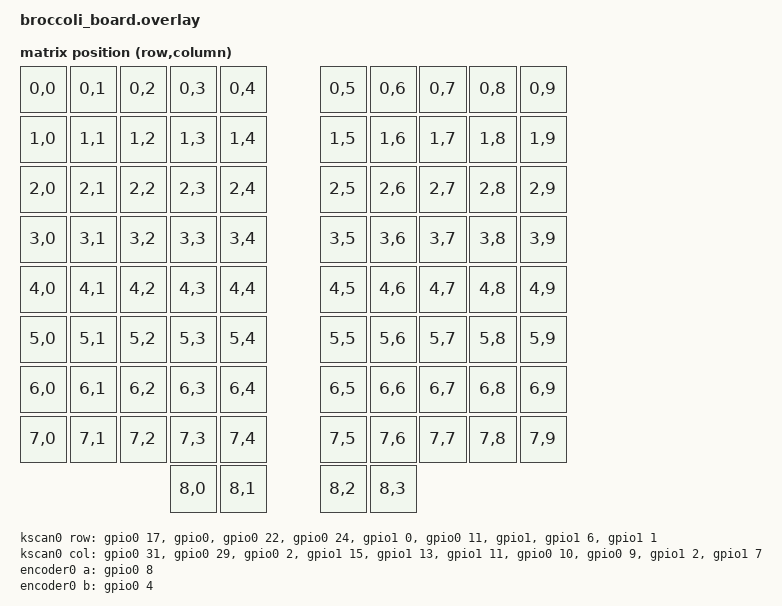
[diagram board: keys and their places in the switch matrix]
#include <dt-bindings/zmk/matrix_transform.h>
#include <dt-bindings/led/led.h>

/ {
    chosen {
        zmk,kscan = &kscan0;
        zmk,matrix_transform = &default_transform;
        zmk,underglow = &rgbleds;
    };

    default_transform: keymap_transform_0 {
        compatible = "zmk,matrix-transform";
        columns = <10>;
        rows = <9>;
        map = <
            RC(0,0) RC(0,1) RC(0,2) RC(0,3) RC(0,4) RC(0,5) RC(0,6) RC(0,7) RC(0,8) RC(0,9)
            RC(1,0) RC(1,1) RC(1,2) RC(1,3) RC(1,4) RC(1,5) RC(1,6) RC(1,7) RC(1,8) RC(1,9)
            RC(2,0) RC(2,1) RC(2,2) RC(2,3) RC(2,4) RC(2,5) RC(2,6) RC(2,7) RC(2,8) RC(2,9)
            RC(3,0) RC(3,1) RC(3,2) RC(3,3) RC(3,4) RC(3,5) RC(3,6) RC(3,7) RC(3,8) RC(3,9)
            RC(4,0) RC(4,1) RC(4,2) RC(4,3) RC(4,4) RC(4,5) RC(4,6) RC(4,7) RC(4,8) RC(4,9)
            RC(5,0) RC(5,1) RC(5,2) RC(5,3) RC(5,4) RC(5,5) RC(5,6) RC(5,7) RC(5,8) RC(5,9)
            RC(6,0) RC(6,1) RC(6,2) RC(6,3) RC(6,4) RC(6,5) RC(6,6) RC(6,7) RC(6,8) RC(6,9)
            RC(7,0) RC(7,1) RC(7,2) RC(7,3) RC(7,4) RC(7,5) RC(7,6) RC(7,7) RC(7,8) RC(7,9)
            RC(8,0) RC(8,1) RC(8,2) RC(8,3)
        >;
    };

    kscan0: kscan {
        compatible = "zmk,kscan-gpio-matrix";
        diode-direction = "col2row";

        col-gpios
            = <&gpio0 31 GPIO_ACTIVE_HIGH> 
            , <&gpio0 29 GPIO_ACTIVE_HIGH>
            , <&gpio0 2 GPIO_ACTIVE_HIGH>
            , <&gpio1 15 GPIO_ACTIVE_HIGH> // 17 doesn't exist, I assume you mean P0.17 which is pro_micro 2
            , <&gpio1 13 GPIO_ACTIVE_HIGH>
            , <&gpio1 11 GPIO_ACTIVE_HIGH>
            , <&gpio0 10 GPIO_ACTIVE_HIGH>
            , <&gpio0 9 GPIO_ACTIVE_HIGH> // 13 doesn't exist
            , <&gpio1 2 GPIO_ACTIVE_HIGH> // 32 doesn't exist
            , <&gpio1 7 GPIO_ACTIVE_HIGH> // 33 doesn't exist
            ;

        row-gpios
            = <&gpio0 17 (GPIO_ACTIVE_HIGH | GPIO_PULL_DOWN)>
            , <&gpio0 20(GPIO_ACTIVE_HIGH | GPIO_PULL_DOWN)>
            , <&gpio0 22 (GPIO_ACTIVE_HIGH | GPIO_PULL_DOWN)>
            , <&gpio0 24 (GPIO_ACTIVE_HIGH | GPIO_PULL_DOWN)>
            , <&gpio1 0 (GPIO_ACTIVE_HIGH | GPIO_PULL_DOWN)>
            , <&gpio0 11 (GPIO_ACTIVE_HIGH | GPIO_PULL_DOWN)>
            , <&gpio1 4(GPIO_ACTIVE_HIGH | GPIO_PULL_DOWN)> //11 doesn't exist
            , <&gpio1 6 (GPIO_ACTIVE_HIGH | GPIO_PULL_DOWN)> //12 doesn't exist
            , <&gpio1 1 (GPIO_ACTIVE_HIGH | GPIO_PULL_DOWN)> //31 doesn't exist
            ;
    };

    // Encoder (rotation + push button)
    encoder0: encoder0 {
        compatible = "alps,ec11";
        a-gpios = <&gpio0 8 (GPIO_PULL_UP | GPIO_ACTIVE_LOW)>;
        b-gpios = <&gpio0 4 (GPIO_PULL_UP | GPIO_ACTIVE_LOW)>; //doesn't exist
        steps = <4>; // this is just steps https://zmk.dev/docs/config/encoders#ec11-nodes
    };

    // Encoder push button as a separate key
    //encoder_button: encoder_button {
    //    compatible = "zmk,kscan-gpio-direct";
    //    input-gpios = <&pro_micro 25 (GPIO_PULL_UP | GPIO_ACTIVE_LOW)>;  // Change this pin if needed //doesn't exist
    //};
    // no encoder button wired up

    rgbleds: rgbleds {
        compatible = "worldsemi,ws2812-gpio";
        gpios = <&gpio0 6 GPIO_ACTIVE_HIGH>; 
        chain-length = <84>;
        color-mapping = <LED_COLOR_ID_GREEN LED_COLOR_ID_RED LED_COLOR_ID_BLUE>;
    };
};
